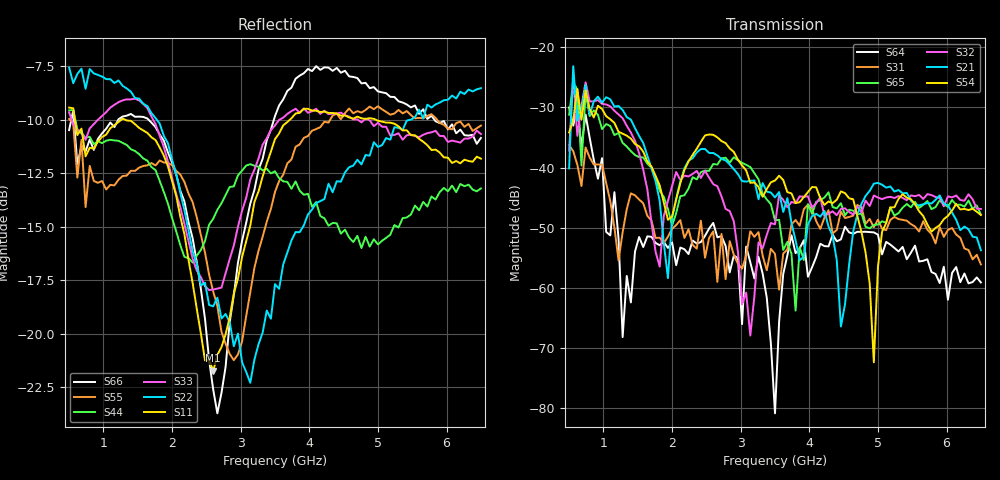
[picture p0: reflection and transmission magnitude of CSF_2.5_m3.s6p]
!Keysight Technologies,M9804A,MY58100912,A.14.10.03
!Date: Thursday, April 27, 2023 10:28:33
!Correction: S11(C  6-Port  )
!S12(C  6-Port  )
!S13(C  6-Port  )
!S14(C  6-Port  )
!S15(C  6-Port  )
!S16(C  6-Port  )
!S21(C  6-Port  )
!S22(C  6-Port  )
!S23(C  6-Port  )
!S24(C  6-Port  )
!S25(C  6-Port  )
!S26(C  6-Port  )
!S31(C  6-Port  )
!S32(C  6-Port  )
!S33(C  6-Port  )
!S34(C  6-Port  )
!S35(C  6-Port  )
!S36(C  6-Port  )
!S41(C  6-Port  )
!S42(C  6-Port  )
!S43(C  6-Port  )
!S44(C  6-Port  )
!S45(C  6-Port  )
!S46(C  6-Port  )
!S51(C  6-Port  )
!S52(C  6-Port  )
!S53(C  6-Port  )
!S54(C  6-Port  )
!S55(C  6-Port  )
!S56(C  6-Port  )
!S61(C  6-Port  )
!S62(C  6-Port  )
!S63(C  6-Port  )
!S64(C  6-Port  )
!S65(C  6-Port  )
!S66(C  6-Port  )
!S6P File: Measurement: :
# Hz S  RI  R 50
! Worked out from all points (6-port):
!   101 points, 500 MHz to 6.5 GHz, reference 50 ohm
!   strongest paths, dB at 500 MHz, 2 GHz, 3.5 GHz, 5 GHz, 6.5 GHz:
!     S54: -34.2, -48.1, -42.2, -56.5, -47.9
!     S21: -40.1, -48.5, -45.0, -42.5, -53.7
!     S32: -37.2, -43.1, -49.4, -45.0, -46.9
!     S65: -31.2, -49.6, -48.8, -49.5, -47.8
!     S31: -36.3, -50.2, -54.4, -48.7, -56.1
!     S64: -30.0, -52.4, -80.9, -51.1, -59.1
!   lowest |S11| = -21.7 dB at 2.6 GHz (marker M1), VSWR 1.18, Z = 42.7 + j1.95 ohm
!   |S11| at or under -10 dB: 585.7 MHz to 1.26 GHz (674.3 MHz wide, 73.1 % of centre); 1.316 GHz to 3.716 GHz (2.4 GHz wide, 95.4 % of centre); 4.967 GHz to end of sweep
